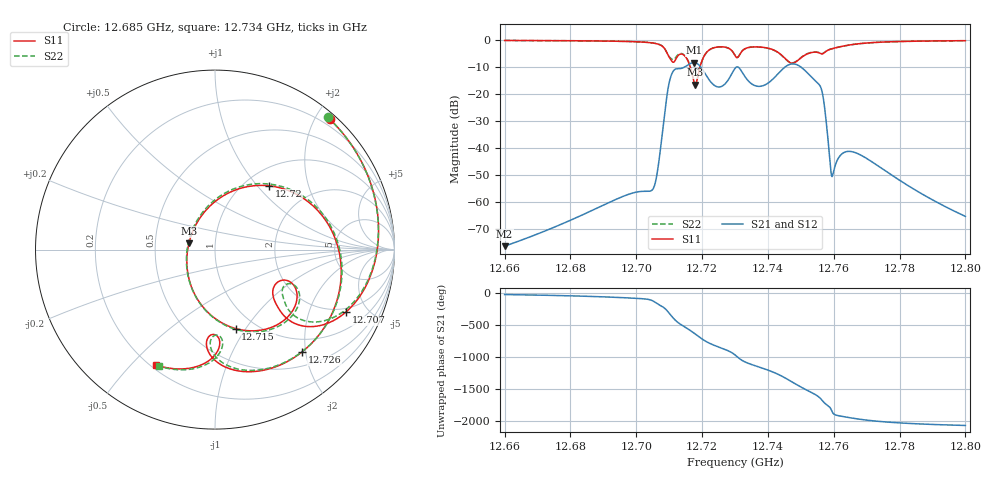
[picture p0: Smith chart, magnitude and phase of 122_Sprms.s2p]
! TOUCHSTONE file generated by CST MICROWAVE STUDIO
! Date and time: Wed Jul 31 16:56:46 2024
! Project name: WaveGuide_BPF-Ver4.1_U-shape_Ku_T3_C4_CWA_2.cst
! Parameters = {cavity_h=16; cavity_l0=10; cavity_l1=15.1608; cavity_l2=16.8086; cavity_l3=17.1054; cavity_l4=17.2429; cavity_l5=17.1575; cavity_l6=17.5666; cavity_r=2.5; cavity_screw_l=0.5; cavity_screw_r=1.5; cavity_w=8; iris_h00=0; iris_h01=8.8402; iris_h112=0; iris_h12=5.5957; iris_h211=3.6542; 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
! Header version: 2018
! Port assignment regex: !\s*Touchstone port\s*([0-9]+)\s*=\s*(CST MWS port|CST DS port)\s*([0-9]+|Zmin|Zmax)\s*\(\"(.*)\"\)(\s*mode\s*([0-9]+))?.*
! Touchstone port assignment:
! Touchstone port 1 = CST MWS port 1 ("")
! Touchstone port 2 = CST MWS port 2 ("")
# GHz S RI R 50
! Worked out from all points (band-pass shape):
!   5001 points, 12.66 GHz to 12.8 GHz, reference 50 ohm
!   highest |S21| = -8.33 dB at 12.718 GHz (marker M1); lowest = -76.4 dB at 12.66 GHz (marker M2)
!   |S21| within 3 dB of the highest: 12.71135 GHz to 12.72035 GHz (9.004 MHz wide, 0.0708 % of centre); 12.74399 GHz to 12.75131 GHz (7.327 MHz wide, 0.0575 % of centre) (the widest 2 of 3)
!   lowest |S11| = -16.5 dB at 12.718 GHz (marker M3), VSWR 1.35, Z = 37.2 + j2.63 ohm
!   |S11| at or under -10 dB: 12.7164 GHz to 12.71936 GHz (2.965 MHz wide, 0.0233 % of centre)
!   |S22| runs from -16.3 to -0.1 dB; largest |S21 - S12| = 1e-09
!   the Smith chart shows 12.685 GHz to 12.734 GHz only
!   S11 on the Smith chart (normalised r, x): 12.685 GHz: 0.10, +2.21; 12.707 GHz: 1.78, -3.57; 12.715 GHz: 0.81, -0.90; 12.72 GHz: 1.27, +1.15; 12.726 GHz: 0.75, -1.93; 12.734 GHz: 0.22, -0.59
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12.66  0.2574 0.9498  0.000144 -4.78e-05  0.000144 -4.78e-05  0.248 0.9524
12.68335  0.6112 0.753  0.000413 -0.000387  0.000413 -0.000387  0.6004 0.7621
12.68486  0.6393 0.727  0.000437 -0.000445  0.000437 -0.000445  0.6285 0.7368
12.70668  0.7917 -0.2812  -0.00459 -0.000659  -0.00459 -0.000659  0.8044 -0.2525
12.70738  0.7285 -0.3487  -0.00957 0.00203  -0.00957 0.00203  0.7445 -0.3208
12.71051  0.3298 -0.2796  0.2047 0.0571  0.2047 0.0571  0.3779 -0.2599
12.71533  0.1152 -0.44  -0.3337 0.0272  -0.3337 0.0272  0.1216 -0.4462
12.71751  -0.157 -0.0643  -0.0527 0.3798  -0.0527 0.3798  -0.1589 -0.0778
12.71793  -0.1457 0.0346  0.0546 0.3766  0.0546 0.3766  -0.1521 0.0213
12.72031  0.3002 0.3555  0.2721 -0.031  0.2721 -0.031  0.2797 0.367
12.72622  0.4851 -0.5699  -0.1154 -0.0822  -0.1154 -0.0822  0.508 -0.5499
12.73  -0.0474 -0.5162  -0.1286 0.2697  -0.1286 0.2697  -0.0267 -0.5204
12.73384  -0.3278 -0.6432  0.1765 -0.0399  0.1765 -0.0399  -0.3102 -0.6505
12.74212  -0.291 0.5698  -0.2004 -0.0488  -0.2004 -0.0488  -0.2815 0.5686
12.7461  0.3991 0.0742  0.00718 0.3435  0.00718 0.3435  0.4012 0.0516
12.7494  -0.1564 -0.4063  0.3297 -0.0604  0.3297 -0.0604  -0.1674 -0.411
12.75335  -0.4648 0.3621  -0.0932 -0.1806  -0.0932 -0.1806  -0.4792 0.3531
12.75649  0.1496 0.5339  -0.0579 0.0921  -0.0579 0.0921  0.126 0.5473
12.75957  0.6702 0.1791  0.00146 -0.00262  0.00146 -0.00262  0.6609 0.2139
12.7664  0.1929 -0.8162  -0.00786 -0.00256  -0.00786 -0.00256  0.2231 -0.8061
12.77668  -0.6679 -0.6445  -0.00266 0.00218  -0.00266 0.00218  -0.6537 -0.6574
12.8  -0.9706 0.0851  7.21e-06 0.00054  7.21e-06 0.00054  -0.9712 0.0755
